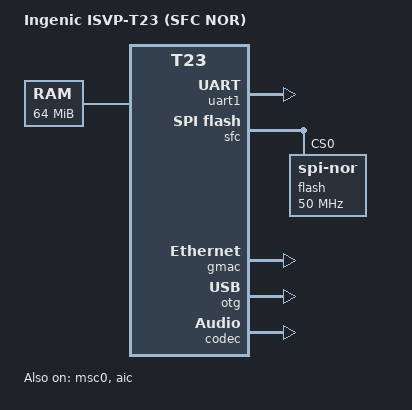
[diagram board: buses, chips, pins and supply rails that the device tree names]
// SPDX-License-Identifier: GPL-2.0+
/*
 * Ingenic ISVP-T23 shared board body (SFC-NOR, USB host).
 *
 * The per-SKU leaf .dts files (t23n-isvp.dts, ...) include this and
 * supply the DDR node's per-SKU "ingenic,sdram-params" array, consumed
 * by the shared Innophy DDR driver (ddr_t31.c). The matching
 * <leaf>-u-boot.dtsi pulls in t23-isvp-uboot-common.dtsi
 * (binman image + SPL bootph).
 */

#include <dt-bindings/gpio/gpio.h>
#include "t23.dtsi"

/ {
	compatible = "ingenic,isvp-t23", "ingenic,t23";
	model = "Ingenic ISVP-T23 (SFC NOR)";

	aliases {
		serial1 = &uart1;
	};

	chosen {
		stdout-path = "serial1:115200n8";
	};

	memory {
		device_type = "memory";
		/* Placeholder; the DDR driver reports the real per-SKU size. */
		reg = <0x0 0x04000000>;
	};
};

&uart1 {
	status = "okay";
};

&sfc {
	status = "okay";

	flash@0 {
		compatible = "jedec,spi-nor";
		reg = <0>;
		spi-max-frequency = <50000000>;
	};
};

&msc0 {
	status = "okay";
	bus-width = <4>;
	broken-cd;	/* no card-detect line wired on the ISVP board */
};

&gmac {
	status = "okay";
	/* PHY reset GPIO; exact pin varies per board, override per device. */
	ingenic,reset-gpio = <&gpb 28 GPIO_ACTIVE_LOW>;
};

&otg {
	status = "okay";
};

&aic {
	status = "okay";
};

&codec {
	status = "okay";
	/* Speaker-amp enable: SDK default PB31, active-high. Override
	 * here per board if the amp is on a different pin/polarity. */
	ingenic,spk-gpio = <&gpb 31 GPIO_ACTIVE_HIGH>;
};

&sound {
	status = "okay";
};
